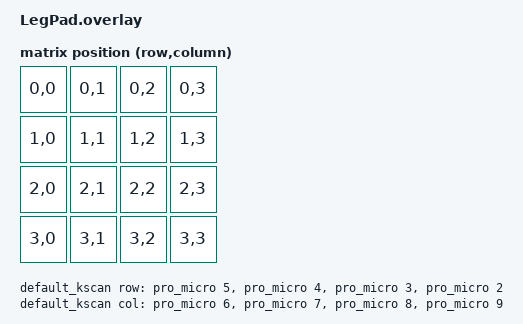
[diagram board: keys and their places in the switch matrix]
#include <dt-bindings/zmk/matrix_transform.h>

/ {
    chosen {
        zmk,kscan = &default_kscan;
        zmk,matrix_transform = &default_transform;
    };

    default_kscan: kscan {
        compatible = "zmk,kscan-gpio-matrix";
        label = "default_kscan";
        diode-direction = "col2row";

        row-gpios = <&pro_micro 5 (GPIO_ACTIVE_HIGH | GPIO_PULL_DOWN)>,
                    <&pro_micro 4 (GPIO_ACTIVE_HIGH | GPIO_PULL_DOWN)>,
                    <&pro_micro 3 (GPIO_ACTIVE_HIGH | GPIO_PULL_DOWN)>,
                    <&pro_micro 2 (GPIO_ACTIVE_HIGH | GPIO_PULL_DOWN)>;
    
        col-gpios = <&pro_micro 6 GPIO_ACTIVE_HIGH>,
                    <&pro_micro 7 GPIO_ACTIVE_HIGH>,
                    <&pro_micro 8 GPIO_ACTIVE_HIGH>,
                    <&pro_micro 9 GPIO_ACTIVE_HIGH>;
    };

    default_transform: matrix_transform {
        compatible = "zmk,matrix-transform";
        rows = <4>;
        columns = <4>;

        map = <
            RC(0,0) RC(0,1) RC(0,2) RC(0,3)
            RC(1,0) RC(1,1) RC(1,2) RC(1,3)
            RC(2,0) RC(2,1) RC(2,2) RC(2,3)
            RC(3,0) RC(3,1) RC(3,2) RC(3,3)
        >;
    };
    // Rotary Encoder 1 (switch: D8, left: D7, right: D6)
    encoder1: encoder@1 {
        compatible = "zmk,ec11-encoder";
        pin-a = <&pro_micro 7 GPIO_ACTIVE_HIGH>;  // D7 (left)
        pin-b = <&pro_micro 6 GPIO_ACTIVE_HIGH>;  // D6 (right)
        pin-press = <&pro_micro 8 GPIO_ACTIVE_HIGH>;  // D8 (switch)
        resolution = <2>;
    };

    // Rotary Encoder 2 (switch: D5, left: D4, right: D3)
    encoder2: encoder@2 {
        compatible = "zmk,ec11-encoder";
        pin-a = <&pro_micro 4 GPIO_ACTIVE_HIGH>;  // D4 (left)
        pin-b = <&pro_micro 3 GPIO_ACTIVE_HIGH>;  // D3 (right)
        pin-press = <&pro_micro 5 GPIO_ACTIVE_HIGH>;  // D5 (switch)
        resolution = <2>;
    };
};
